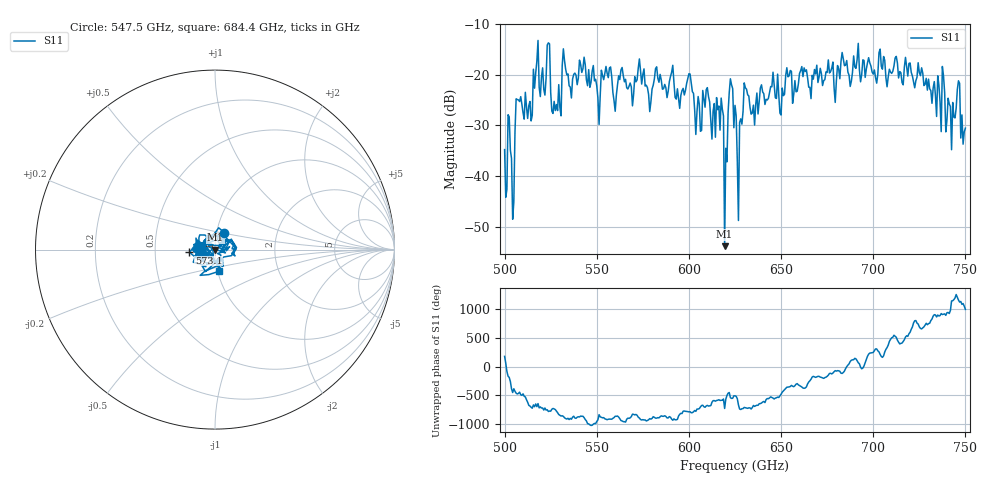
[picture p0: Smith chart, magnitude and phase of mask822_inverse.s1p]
!Created with skrf (http://scikit-rf.org).
# GHz S MA R 50.0
!freq magS11 angS11
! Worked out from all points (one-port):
!   401 points, 500 GHz to 750 GHz, reference 50 ohm
!   lowest |S11| = -53.8 dB at 619.4 GHz (marker M1), VSWR 1.00, Z = 50.2 - j0.0261 ohm
!   |S11| at or under -10 dB: start of sweep to end of sweep
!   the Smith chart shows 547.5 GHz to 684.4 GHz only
!   S11 on the Smith chart (normalised r, x): 547.5 GHz: 1.09, +0.21; 573.1 GHz: 0.75, -0.02; 684.4 GHz: 1.02, -0.25
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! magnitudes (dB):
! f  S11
! 500 GHz  -34.8
! 502.5 GHz  -28.3
! 504.4 GHz  -48.5
! 507.5 GHz  -25.0
! 513.8 GHz  -25.3
! 516.9 GHz  -19.6
! 523.8 GHz  -13.7
! 526.9 GHz  -25.2
! 531.2 GHz  -18.3
! 547.5 GHz  -19.3
! 562.5 GHz  -20.9
! 573.1 GHz  -16.9
! 593.8 GHz  -22.8
! 600 GHz  -19.8
! 616.2 GHz  -26.2
! 619.4 GHz  -53.8
! 622.5 GHz  -20.8
! 625 GHz  -26.0
! 627.5 GHz  -29.4
! 631.2 GHz  -22.8
! 634.4 GHz  -27.6
! 656.2 GHz  -25.6
! 684.4 GHz  -18.2
! 687.5 GHz  -22.3
! 718.8 GHz  -20.3
! 743.1 GHz  -25.5
! 745.6 GHz  -22.9
! 750 GHz  -30.5
